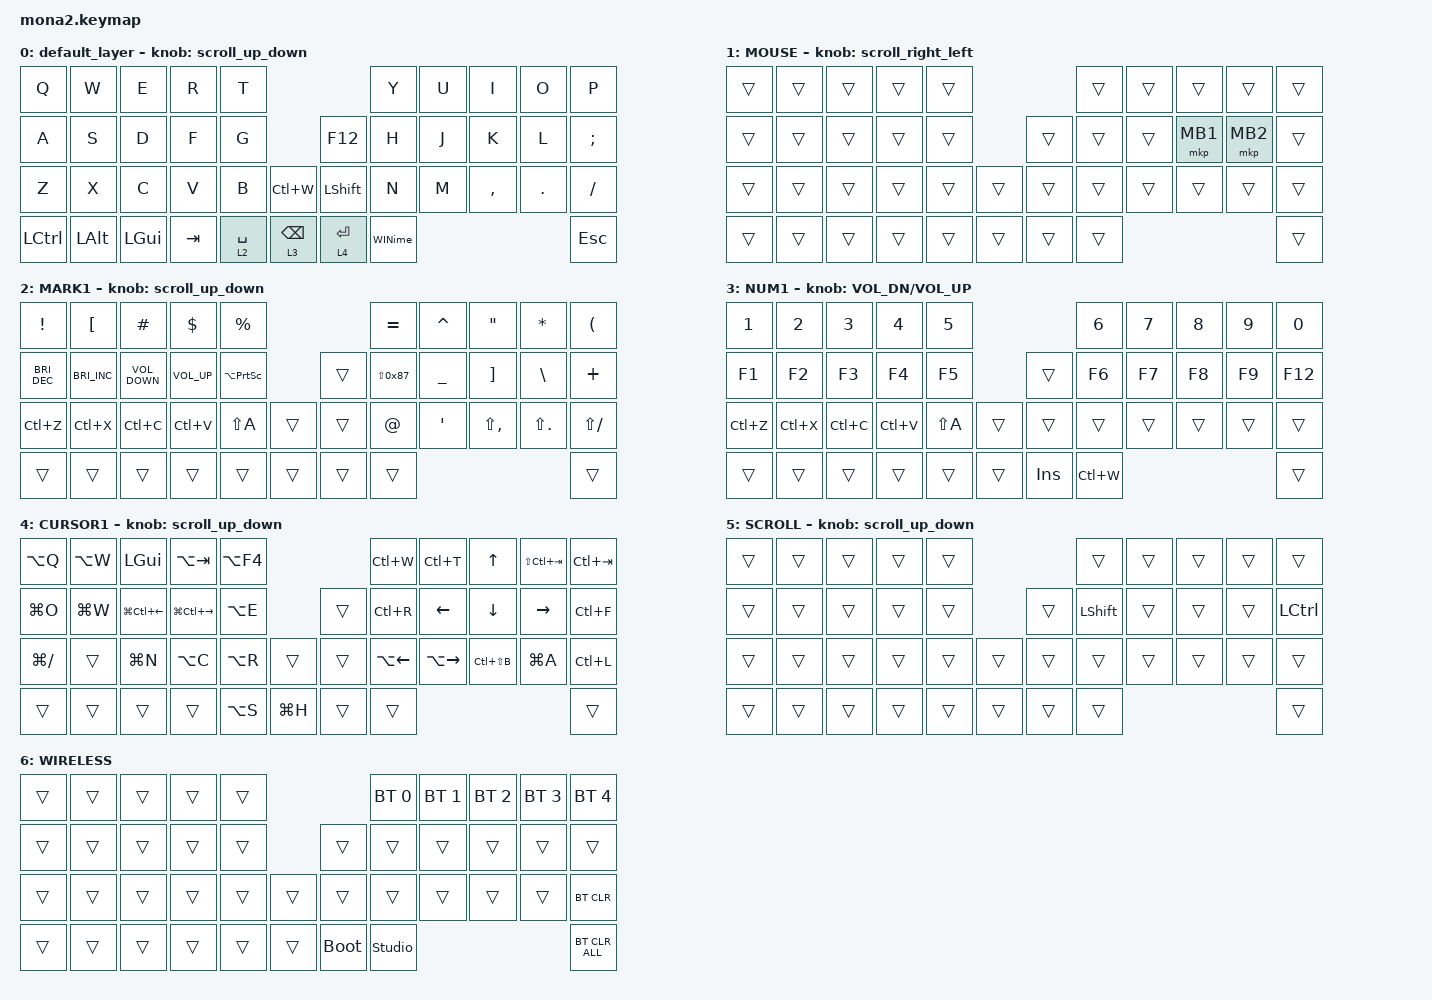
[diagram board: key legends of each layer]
#include <input/processors.dtsi>
#include <dt-bindings/zmk/input_transform.h>
#include <zephyr/dt-bindings/input/input-event-codes.h>
#include <mouse-gesture.dtsi>
#include <behaviors.dtsi>
#include <dt-bindings/zmk/bt.h>
#include <dt-bindings/zmk/keys.h>
#include <dt-bindings/zmk/pointing.h>

// OS設定を日本語キーボードのまま使用するための変換定義

#define JP_DQUOTE       AT                // "
#define JP_AMPERSAND    CARET             // &
#define JP_QUOTE        AMPERSAND         // '
#define JP_EQUAL        UNDER             // =
#define JP_CARET        EQUAL             // ^
#define JP_YEN          0x89              // ¥
#define JP_PLUS         COLON             // +
#define JP_TILDE        PLUS              // ~
#define JP_PIPE         LS(0x89)          // |
#define JP_AT           LEFT_BRACKET      // @
#define JP_COLON        SINGLE_QUOTE      // :
#define JP_ASTERISK     DOUBLE_QUOTES     // *
#define JP_BACKQUOTE    LEFT_BRACE        // `
#define JP_UNDERSCORE   LS(0x87)          // _
#define JP_LBRACKET     RIGHT_BRACKET     // [
#define JP_RBRACKET     BACKSLASH         // ]
#define JP_LPAREN       ASTERISK          // (
#define JP_RPAREN       LEFT_PARENTHESIS  // )
#define JP_LBRACE       RIGHT_BRACE       // {
#define JP_RBRACE       PIPE              // }
#define JP_KANA         LANGUAGE_1        // かな
#define JP_EISU         LANGUAGE_2        // 英数
#define JP_HANZEN       GRAVE             // 半角/全角

#define ZMK_POINTING_DEFAULT_SCRL_VAL 100
/* レイヤー実番号(参考): MOUSE=1, MARK1=2, NUM1=3, CURSOR1=4, SCROLL=5, WIRELESS=6 */

&mt {
    flavor = "balanced";
    quick-tap-ms = <0>;
};

&lt {
    quick-tap-ms = <300>;
    flavor = "balanced";
};

/ {
    combos {
        compatible = "zmk,combos";

        /* K+L: enter SCROLL layer (aerogu34と同じ設計) */

        scroll {
            bindings = <&mo 5>;
            key-positions = <18 19>;
            timeout-ms = <50>;
            require-prior-idle-ms = <150>;
        };

        /* J+K+L (3-key combo): activate trackball gesture recognition.
         * K+Lと被るが、ZMKはより多いキー数の組み合わせが成立するまで
         * 待つので、J+K+Lが押されればこちが優先される。 */

        mouse_gesture_activate {
            bindings = <&mouse_gesture>;
            key-positions = <17 18 19>;
            timeout-ms = <50>;
            require-prior-idle-ms = <150>;
        };

        layer6 {
            bindings = <&mo 6>;
            key-positions = <37 38>;
        };
    };

    macros {
        to_layer_0: to_layer_0 {
            compatible = "zmk,behavior-macro-one-param";
            #binding-cells = <1>;
            bindings = <&to 0 &macro_param_1to1 &kp MACRO_PLACEHOLDER>;
            label = "TO_LAYER_0";
        };

        WINime: WINime {
            compatible = "zmk,behavior-macro";
            #binding-cells = <0>;
            bindings =
                <&macro_press>,
                <&kp LEFT_ALT>,
                <&macro_tap>,
                <&kp LEFT_SHIFT>,
                <&macro_release>,
                <&kp LEFT_ALT>;

            label = "WINIME";
        };
    };

    behaviors {
        lt_to_layer_0: lt_to_layer_0 {
            compatible = "zmk,behavior-hold-tap";
            label = "LAYER_TAP_TO_0";
            bindings = <&mo>, <&to_layer_0>;

            #binding-cells = <2>;
            tapping-term-ms = <200>;
        };

        scroll_up_down: mouse_wheel_up_down {
            compatible = "zmk,behavior-sensor-rotate";
            #sensor-binding-cells = <0>;
            bindings = <&msc SCRL_DOWN>, <&msc SCRL_UP>;

            tap-ms = <20>;
        };

        scroll_right_left: mouse_wheel_right_left {
            compatible = "zmk,behavior-sensor-rotate";
            #sensor-binding-cells = <0>;
            bindings = <&msc SCRL_LEFT>, <&msc SCRL_RIGHT>;

            tap-ms = <20>;
        };
    };

    keymap {
        compatible = "zmk,keymap";

        default_layer {
            bindings = <
&kp Q      &kp W         &kp E         &kp R    &kp T                                           &kp Y    &kp U  &kp I      &kp O    &kp P
&kp A      &kp S         &kp D         &kp F    &kp G                           &kp F12         &kp H    &kp J  &kp K      &kp L    &kp SEMICOLON
&kp Z      &kp X         &kp C         &kp V    &kp B        &kp LC(W)          &kp LEFT_SHIFT  &kp N    &kp M  &kp COMMA  &kp DOT  &kp SLASH
&kp LCTRL  &kp LEFT_ALT  &kp LEFT_GUI  &kp TAB  &lt 2 SPACE  &lt 3 BACKSPACE    &lt 4 ENTER     &WINime                             &kp ESCAPE
            >;

            sensor-bindings = <&scroll_up_down>;
        };

        MOUSE {
            bindings = <
&trans  &trans  &trans  &trans  &trans                    &trans  &trans  &trans    &trans    &trans
&trans  &trans  &trans  &trans  &trans            &trans  &trans  &trans  &mkp MB1  &mkp MB2  &trans
&trans  &trans  &trans  &trans  &trans  &trans    &trans  &trans  &trans  &trans    &trans    &trans
&trans  &trans  &trans  &trans  &trans  &trans    &trans  &trans                              &trans
            >;

            sensor-bindings = <&scroll_right_left>;
        };

        MARK1 {
            bindings = <
&kp EXCLAMATION       &kp JP_AT             &kp HASH           &kp DOLLAR       &kp PERCENT                            &kp JP_CARET       &kp JP_AMPERSAND  &kp JP_ASTERISK  &kp JP_LPAREN   &kp JP_RPAREN
&kp C_BRIGHTNESS_DEC  &kp C_BRIGHTNESS_INC  &kp C_VOLUME_DOWN  &kp C_VOLUME_UP  &kp LA(PRINTSCREEN)            &trans  &kp JP_UNDERSCORE  &kp JP_EQUAL      &kp JP_LBRACKET  &kp JP_RBRACKET &kp JP_TILDE
&kp LC(Z)             &kp LC(X)             &kp LC(C)          &kp LC(V)        &kp LS(A)            &trans    &trans  &kp JP_DQUOTE      &kp JP_COLON      &kp LS(COMMA)    &kp LS(PERIOD)  &kp LS(SLASH)
&trans                &trans                &trans             &trans           &trans               &trans    &trans  &trans                                                              &trans
            >;

            sensor-bindings = <&scroll_up_down>;
        };

        NUM1 {
            bindings = <
&kp NUMBER_1  &kp NUMBER_2  &kp NUMBER_3  &kp NUMBER_4  &kp N5                           &kp NUMBER_6  &kp N7  &kp N8  &kp N9  &kp N0
&kp F1        &kp F2        &kp F3        &kp F4        &kp F5               &trans      &kp F6        &kp F7  &kp F8  &kp F9  &kp F12
&kp LC(Z)     &kp LC(X)     &kp LC(C)     &kp LC(V)     &kp LS(A)  &trans    &trans      &trans        &trans  &trans  &trans  &trans
&trans        &trans        &trans        &trans        &trans     &trans    &kp INSERT  &kp LC(W)                             &trans
            >;

            sensor-bindings = <&inc_dec_kp C_VOL_DN C_VOL_UP>;
        };

        CURSOR1 {
            bindings = <
&kp LA(Q)      &kp LA(W)  &kp LEFT_GUI            &kp LA(TAB)              &kp LA(F4)                       &kp LC(W)           &kp LC(T)            &kp UP_ARROW    &kp LS(LC(TAB))  &kp LC(TAB)
&kp LG(O)      &kp LG(W)  &kp LG(LC(LEFT_ARROW))  &kp LG(LC(RIGHT_ARROW))  &kp LA(E)                &trans  &kp LC(R)           &kp LEFT_ARROW       &kp DOWN_ARROW  &kp RIGHT_ARROW  &kp LC(F)
&kp LG(SLASH)  &trans     &kp LG(N)               &kp LA(C)                &kp LA(R)   &trans       &trans  &kp LA(LEFT_ARROW)  &kp LA(RIGHT_ARROW)  &kp LC(LS(B))   &kp LG(A)        &kp LC(L)
&trans         &trans     &trans                  &trans                   &kp LA(S)   &kp LG(H)    &trans  &trans                                                                    &trans
            >;

            sensor-bindings = <&scroll_up_down>;
        };

        SCROLL {
            bindings = <
&trans  &trans  &trans  &trans  &trans                    &trans          &trans  &trans  &trans  &trans
&trans  &trans  &trans  &trans  &trans            &trans  &kp LEFT_SHIFT  &trans  &trans  &trans  &kp LEFT_CONTROL
&trans  &trans  &trans  &trans  &trans  &trans    &trans  &trans          &trans  &trans  &trans  &trans
&trans  &trans  &trans  &trans  &trans  &trans    &trans  &trans                                  &trans
            >;

            sensor-bindings = <&scroll_up_down>;
        };

        WIRELESS {
            bindings = <
&trans  &trans  &trans  &trans  &trans                         &bt BT_SEL 0    &bt BT_SEL 1  &bt BT_SEL 2  &bt BT_SEL 3  &bt BT_SEL 4
&trans  &trans  &trans  &trans  &trans            &trans       &trans          &trans        &trans        &trans        &trans
&trans  &trans  &trans  &trans  &trans  &trans    &trans       &trans          &trans        &trans        &trans        &bt BT_CLR
&trans  &trans  &trans  &trans  &trans  &trans    &bootloader  &studio_unlock                                            &bt BT_CLR_ALL
            >;
        };
    };
};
